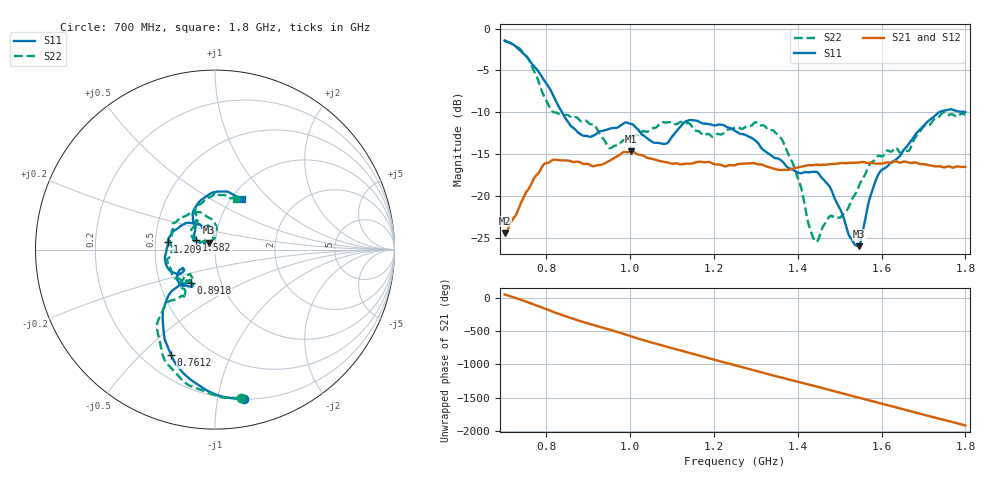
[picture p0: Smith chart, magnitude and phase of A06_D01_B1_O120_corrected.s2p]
! Created with skrf 1.9.0 (http://scikit-rf.org).
# Hz S RI R 50.0
!freq ReS11 ImS11 ReS21 ImS21 ReS12 ImS12 ReS22 ImS22
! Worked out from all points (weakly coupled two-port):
!   1601 points, 700 MHz to 1.8 GHz, reference 50 ohm
!   highest |S21| = -14.64 dB at 1.002 GHz (marker M1); lowest = -24.4 dB at 700 MHz (marker M2)
!   lowest |S11| = -26.0 dB at 1.545 GHz (marker M3), VSWR 1.11, Z = 46.7 + j3.59 ohm
!   |S11| at or under -10 dB: 837.1 MHz to 1.737 GHz (899.4 MHz wide, 69.9 % of centre)
!   |S22| runs from -25.5 to -1.5 dB; largest |S21 - S12| = 0.0037
!   S11 on the Smith chart (normalised r, x): 700 MHz: 0.20, -1.19; 761.2 MHz: 0.31, -0.62; 891.8 MHz: 0.72, -0.28; 1.209 GHz: 0.58, +0.05; 1.582 GHz: 0.81, +0.09; 1.8 GHz: 1.12, +0.70
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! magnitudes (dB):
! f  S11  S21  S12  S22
! 700 MHz  -1.4  -24.4  -24.2  -1.5
! 761.2 MHz  -3.9  -18.8  -18.7  -4.1
! 812.8 MHz  -7.6  -15.7  -15.7  -9.8
! 883.6 MHz  -12.7  -16.1  -15.9  -11.1
! 891.8 MHz  -12.8  -16.2  -16.2  -11.0
! 950.9 MHz  -11.9  -15.8  -15.8  -14.3
! 1.002 GHz  -11.4  -14.6  -14.8  -13.1
! 1.067 GHz  -13.6  -15.8  -15.7  -11.5
! 1.138 GHz  -11.0  -16.1  -16.1  -11.3
! 1.209 GHz  -11.5  -16.2  -16.2  -12.6
! 1.25 GHz  -12.2  -16.3  -16.2  -11.8
! 1.36 GHz  -15.7  -16.9  -16.9  -13.1
! 1.404 GHz  -17.3  -16.5  -16.5  -18.4
! 1.434 GHz  -17.1  -16.3  -16.3  -24.6
! 1.475 GHz  -18.8  -16.2  -16.2  -22.5
! 1.506 GHz  -22.2  -16.0  -16.0  -22.3
! 1.545 GHz  -26.0  -16.0  -16.0  -18.9
! 1.582 GHz  -18.7  -16.1  -16.1  -15.7
! 1.617 GHz  -16.3  -16.0  -16.0  -14.6
! 1.664 GHz  -13.8  -16.0  -16.0  -14.6
! 1.735 GHz  -10.1  -16.4  -16.5  -10.6
! 1.8 GHz  -10.0  -16.5  -16.5  -10.3
